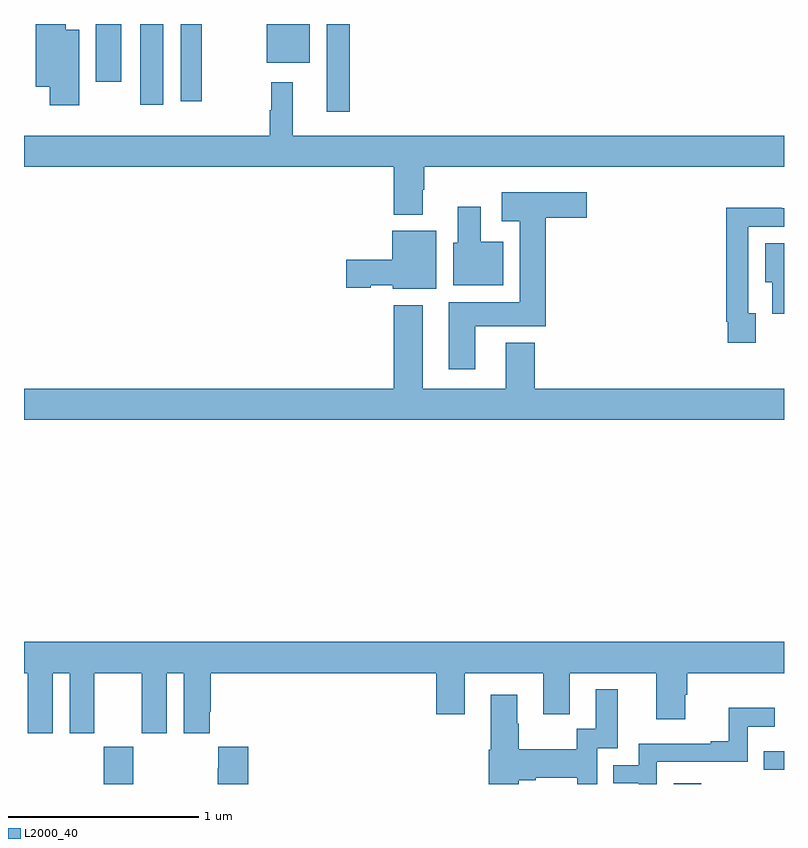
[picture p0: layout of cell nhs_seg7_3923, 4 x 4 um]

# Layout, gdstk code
import gdstk
lib = gdstk.Library(unit=1e-6, precision=1e-09)
def R(c, l, rs):  # rectangles x0, y0, x1, y1
    for r in rs: c.add(gdstk.rectangle(r[:2], r[2:], *l))
def P(c, l, *ps):  # polygons
    for p in ps: c.add(gdstk.Polygon(p, *l))
L2000_40 = (2000, 40)

nhs_seg7_3923 = lib.new_cell('nhs_seg7_3923')
R(nhs_seg7_3923, L2000_40, [(359.419,1032,359.574,1032.196), (362.421,1032,362.565,1032.004), (362.893,1032.075,363,1032.172), (360.593,1035.537,360.715,1036), (359.612,1035.576,359.734,1036), (359.826,1035.594,359.935,1036), (359.378,1035.696,359.512,1036), (360.278,1035.797,360.505,1036)])
P(nhs_seg7_3923, L2000_40, [(359.29,1035.97),(359.221,1035.97),(359.221,1036),(359.063,1036),(359.063,1035.671),(359.135,1035.671),(359.135,1035.573),(359.29,1035.573)],
  [(361.099,1035.128),(361.107,1035.128),(361.107,1035.248),(363,1035.248),(363,1035.412),(360.415,1035.412),(360.415,1035.694),(360.301,1035.694),(360.301,1035.545),(360.294,1035.545),(360.294,1035.412),(359,1035.412),(359,1035.248),(360.947,1035.248),(360.947,1034.996),(361.099,1034.996)],
  [(361.375,1034.408),(361.745,1034.408),(361.745,1034.981),(361.963,1034.981),(361.963,1035.115),(361.515,1035.115),(361.515,1034.963),(361.61,1034.963),(361.61,1034.536),(361.235,1034.536),(361.235,1034.184),(361.375,1034.184)],
  [(361.522,1034.854),(361.405,1034.854),(361.405,1035.037),(361.283,1035.037),(361.283,1034.85),(361.259,1034.85),(361.259,1034.624),(361.522,1034.624)],
  [(362.851,1034.478),(362.811,1034.478),(362.811,1034.934),(363,1034.934),(363,1035.03),(362.987,1035.03),(362.987,1035.032),(362.695,1035.032),(362.695,1034.434),(362.703,1034.434),(362.703,1034.322),(362.851,1034.322)],
  [(361.171,1034.911),(360.938,1034.911),(360.938,1034.759),(360.696,1034.759),(360.696,1034.612),(360.825,1034.612),(360.825,1034.624),(360.942,1034.624),(360.942,1034.606),(361.171,1034.606)],
  [(363,1034.845),(362.9,1034.845),(362.9,1034.642),(362.939,1034.642),(362.939,1034.474),(363,1034.474)],
  [(363,1034.08),(361.688,1034.08),(361.688,1034.323),(361.535,1034.323),(361.535,1034.08),(361.099,1034.08),(361.099,1034.521),(360.947,1034.521),(360.947,1034.08),(359,1034.08),(359,1033.916),(363,1033.916)],
  [(359.152,1032.584),(359.24,1032.584),(359.24,1032.267),(359.371,1032.267),(359.371,1032.584),(359.621,1032.584),(359.621,1032.267),(359.752,1032.267),(359.752,1032.584),(359.84,1032.584),(359.84,1032.267),(359.977,1032.267),(359.977,1032.379),(359.984,1032.379),(359.984,1032.584),(361.169,1032.584),(361.169,1032.366),(361.321,1032.366),(361.321,1032.584),(361.733,1032.584),(361.733,1032.366),(361.873,1032.366),(361.873,1032.584),(362.327,1032.584),(362.327,1032.342),(362.479,1032.342),(362.479,1032.471),(362.492,1032.471),(362.492,1032.584),(363,1032.584),(363,1032.748),(359,1032.748),(359,1032.584),(359.021,1032.584),(359.021,1032.267),(359.152,1032.267)],
  [(361.605,1032.02),(361.693,1032.02),(361.693,1032.032),(361.913,1032.032),(361.913,1032),(362.016,1032),(362.016,1032.189),(362.125,1032.189),(362.125,1032.499),(362.009,1032.499),(362.009,1032.29),(361.908,1032.29),(361.908,1032.184),(361.605,1032.184),(361.605,1032.318),(361.597,1032.318),(361.597,1032.469),(361.457,1032.469),(361.457,1032.18),(361.445,1032.18),(361.445,1032),(361.605,1032)],
  [(362.331,1032.117),(362.808,1032.117),(362.808,1032.302),(362.95,1032.302),(362.95,1032.401),(362.71,1032.401),(362.71,1032.226),(362.615,1032.226),(362.615,1032.213),(362.235,1032.213),(362.235,1032.099),(362.101,1032.099),(362.101,1032.003),(362.235,1032.003),(362.235,1032),(362.331,1032)],
  [(360.179,1032.196),(360.023,1032.196),(360.023,1032.083),(360.019,1032.083),(360.019,1032),(360.179,1032)])

lib.write_gds('nhs_seg7_3923.gds')
